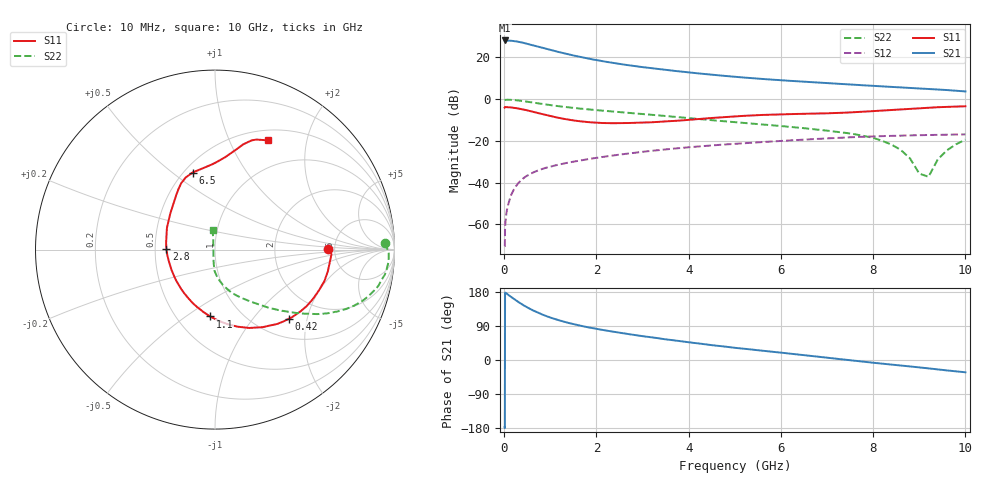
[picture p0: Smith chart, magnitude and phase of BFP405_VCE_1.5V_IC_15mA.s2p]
! Infineon Technologies  Discrete & RF Semiconductors
! BFP405
! VCE =  1.5 V,  IC =  15 mA
! Common Emitter S-Parameters:  Jan 2016
# GHz  S  MA  R  50
!  f  S11  S21  S12  S22
! GHz  MAG  ANG  MAG  ANG  MAG  ANG  MAG  ANG
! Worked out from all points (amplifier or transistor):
!   233 points, 10 MHz to 10 GHz, reference 50 ohm
!   highest |S21| = 28.1 dB at 10 MHz (marker M1)
!   |S21| within 3 dB of that: start of sweep to 744.1 MHz
!   unconditionally stable (mu >= 1): start of sweep to 19.82 MHz; 1.982 GHz to end of sweep
!   at 200 MHz: K = 0.22, MSG = 35.8 dB, |S12| = -43.7 dB
!   at 1.74 GHz: K = 0.93, MSG = 24.4 dB, |S12| = -29.0 dB
!   at 10 GHz: K = 1.40, MAG = 6.5 dB, |S12| = -16.9 dB
!   S11 on the Smith chart (normalised r, x): 10 MHz: 4.36, +0.08; 420 MHz: 1.39, -1.56; 1.1 GHz: 0.72, -0.62; 2.8 GHz: 0.57, +0.00; 6.5 GHz: 0.55, +0.59; 10 GHz: 0.62, +1.40
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0.01  0.6273 0.5  25.55 -177.4  0.0003 -99.2  0.9473 2.2
0.02  0.6494 -2.3  25.52 177.9  0.0008 103.9  0.9601 0.2
0.05  0.645 -5.6  25.36 175.8  0.0019 93.1  0.9684 -1.3
0.1  0.6403 -10.9  25.41 170.8  0.0033 87.3  0.9698 -3.9
0.2  0.6221 -21.4  24.76 162.2  0.0065 80.6  0.956 -8.5
0.3  0.5998 -31.7  23.83 153.8  0.0095 77.2  0.933 -12.4
0.42  0.5645 -42.9  22.36 144.5  0.0128 72.8  0.8951 -16.6
0.56  0.5188 -55.0  20.46 135.0  0.016 68.8  0.8495 -20.8
0.7  0.4765 -66.4  18.64 126.6  0.0189 65.8  0.8045 -24.2
0.9  0.4199 -80.9  16.27 116.4  0.0226 62.9  0.746 -27.9
1.1  0.3732 -94.3  14.25 108.0  0.0258 60.9  0.6965 -30.9
1.4  0.3227 -112.7  11.83 97.7  0.0303 59.0  0.6354 -34.3
1.68  0.2923 -128.5  10.13 89.9  0.0345 57.7  0.5898 -36.9
2.2  0.2674 -155.2  7.904 77.9  0.0423 55.5  0.5233 -41.1
2.8  0.2711 179.6  6.275 66.5  0.0516 52.4  0.4613 -45.6
3.4  0.2882 158.8  5.189 56.4  0.0611 48.5  0.4041 -50.2
5.1  0.3934 121.2  3.368 31.0  0.0867 35.9  0.275 -66.0
6.5  0.4473 106.2  2.627 12.7  0.1074 25.2  0.2017 -77.5
6.8  0.453 101.4  2.501 8.8  0.1118 22.6  0.1862 -79.7
8.4  0.5535 79.6  1.961 -12.2  0.132 7.5  0.0814 -94.8
9.2  0.624 73.2  1.756 -22.1  0.1384 0.6  0.0138 131.2
10  0.6757 64.3  1.533 -32.4  0.1434 -5.5  0.1072 96.8
